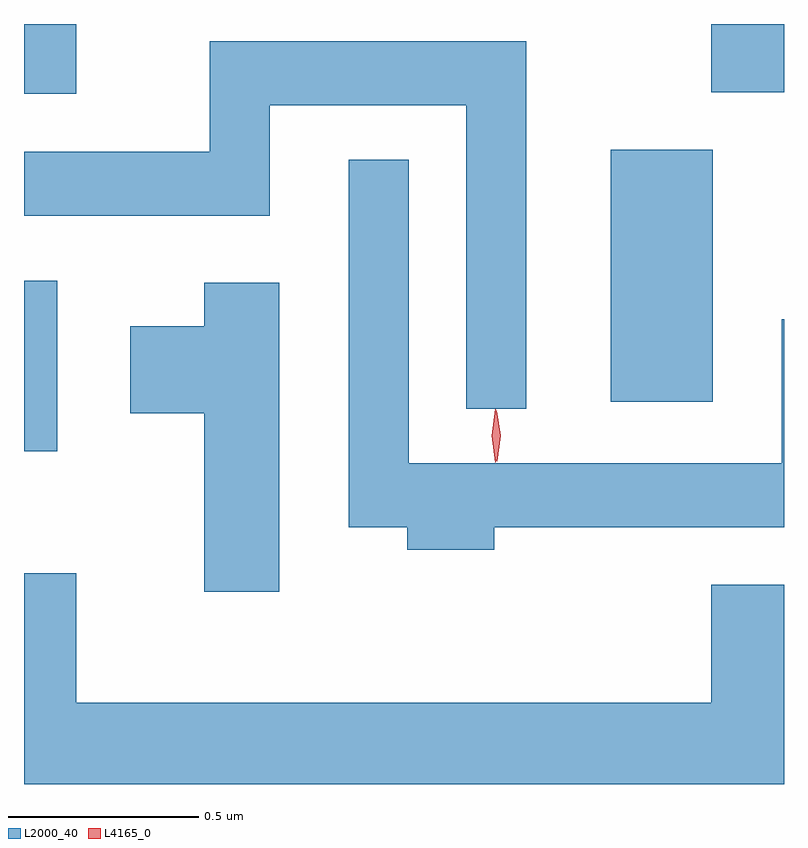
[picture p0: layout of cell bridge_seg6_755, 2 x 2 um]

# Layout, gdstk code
import gdstk
lib = gdstk.Library(unit=1e-6, precision=1e-09)
def R(c, l, rs):  # rectangles x0, y0, x1, y1
    for r in rs: c.add(gdstk.rectangle(r[:2], r[2:], *l))
def P(c, l, *ps):  # polygons
    for p in ps: c.add(gdstk.Polygon(p, *l))
L2000_40 = (2000, 40)
L4165_0 = (4165, 0)

bridge_seg6_755 = lib.new_cell('bridge_seg6_755')
R(bridge_seg6_755, L2000_40, [(547.822,1593.146,547.909,1593.594), (549.366,1593.276,549.634,1593.939), (547.822,1594.086,547.959,1594.27), (549.631,1594.091,549.822,1594.27)])
P(bridge_seg6_755, L2000_40, [(549.144,1594.224),(548.311,1594.224),(548.311,1593.934),(547.822,1593.934),(547.822,1593.766),(548.469,1593.766),(548.469,1594.056),(548.986,1594.056),(548.986,1593.258),(549.144,1593.258)],
  [(549.059,1592.946),(549.822,1592.946),(549.822,1593.493),(549.816,1593.493),(549.816,1593.114),(548.834,1593.114),(548.834,1593.913),(548.676,1593.913),(548.676,1592.946),(548.831,1592.946),(548.831,1592.886),(549.059,1592.886)],
  [(548.494,1593.589),(548.296,1593.589),(548.296,1593.474),(548.101,1593.474),(548.101,1593.246),(548.296,1593.246),(548.296,1592.776),(548.494,1592.776)],
  [(549.822,1592.794),(549.631,1592.794),(549.631,1592.484),(547.959,1592.484),(547.959,1592.824),(547.822,1592.824),(547.822,1592.27),(549.822,1592.27)])
P(bridge_seg6_755, L4165_0, [(549.066,1593.119),(549.066,1593.12),(549.056,1593.186),(549.066,1593.252),(549.066,1593.253),(549.066,1593.252),(549.076,1593.186),(549.067,1593.12)],
  [(549.062,1593.117),(549.053,1593.187),(549.062,1593.256),(549.063,1593.256),(549.063,1593.256),(549.073,1593.187),(549.063,1593.117),(549.063,1593.117)])

lib.write_gds('bridge_seg6_755.gds')
